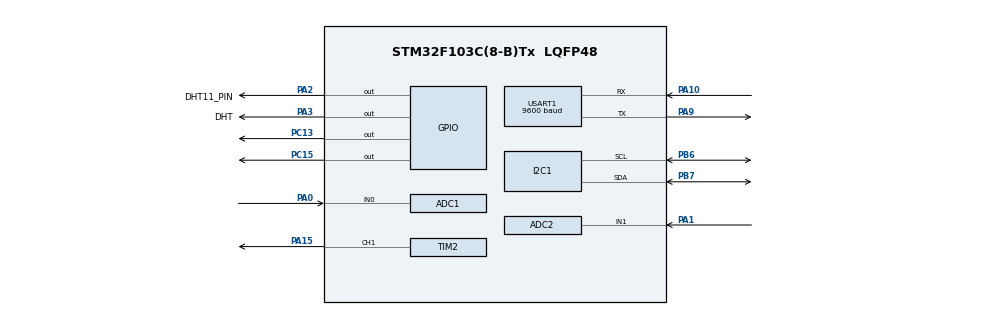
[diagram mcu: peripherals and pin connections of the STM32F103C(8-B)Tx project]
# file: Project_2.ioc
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ADC1.Channel-4\#ChannelRegularConversion=ADC_CHANNEL_0
ADC1.NbrOfConversionFlag=1
ADC1.Rank-4\#ChannelRegularConversion=1
ADC1.SamplingTime-4\#ChannelRegularConversion=ADC_SAMPLETIME_13CYCLES_5
ADC1.master=1
ADC2.Channel-1\#ChannelRegularConversion=ADC_CHANNEL_1
ADC2.NbrOfConversionFlag=1
ADC2.Rank-1\#ChannelRegularConversion=1
ADC2.SamplingTime-1\#ChannelRegularConversion=ADC_SAMPLETIME_13CYCLES_5
I2C1.I2C_Mode=I2C_Fast
Mcu.Family=STM32F1
Mcu.Name=STM32F103C(8-B)Tx
Mcu.Package=LQFP48
NVIC.PriorityGroup=NVIC_PRIORITYGROUP_4
NVIC.USART1_IRQn=true\:0\:0\:false\:false\:true\:true\:true\:true
PA0-WKUP.Signal=ADCx_IN0
PA1.Signal=ADCx_IN1
PA10.Mode=Asynchronous
PA10.Signal=USART1_RX
PA13.Mode=Serial_Wire
PA13.Signal=SYS_JTMS-SWDIO
PA14.Mode=Serial_Wire
PA14.Signal=SYS_JTCK-SWCLK
PA15.Signal=S_TIM2_CH1_ETR
PA2.GPIO_Label=DHT11_PIN
PA2.Signal=GPIO_Output
PA3.GPIO_Label=DHT
PA3.Signal=GPIO_Output
PA9.Mode=Asynchronous
PA9.Signal=USART1_TX
PB6.Mode=I2C
PB6.Signal=I2C1_SCL
PB7.Mode=I2C
PB7.Signal=I2C1_SDA
PC13-TAMPER-RTC.Signal=GPIO_Output
PC15-OSC32_OUT.Signal=GPIO_Output
ProjectManager.HeapSize=0x200
ProjectManager.StackSize=0x400
ProjectManager.TargetToolchain=STM32CubeIDE
RCC.APB1Freq_Value=8000000
RCC.APB2Freq_Value=8000000
SH.ADCx_IN0.0=ADC1_IN0,IN0
SH.ADCx_IN1.0=ADC2_IN1,IN1
SH.S_TIM2_CH1_ETR.0=TIM2_CH1,PWM Generation1 CH1
TIM1.Prescaler=8
TIM2.AutoReloadPreload=TIM_AUTORELOAD_PRELOAD_ENABLE
TIM2.Channel-PWM\ Generation1\ CH1=TIM_CHANNEL_1
TIM2.Period=1000
TIM2.Prescaler=7
TIM3.Prescaler=7
TIM4.Prescaler=7
USART1.BaudRate=9600
USART1.VirtualMode=VM_ASYNC
VP_TIM1_VS_ClockSourceINT.Mode=Internal
VP_TIM2_VS_ClockSourceINT.Mode=Internal
VP_TIM3_VS_ClockSourceINT.Mode=Internal
VP_TIM4_VS_ClockSourceINT.Mode=Internal
board=custom

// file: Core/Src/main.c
/* USER CODE BEGIN Header */
/**
 ******************************************************************************
 * @file           : main.c
 * @brief          : Main program body
 ******************************************************************************
 * @attention
 *
 * Copyright (c) 2024 STMicroelectronics.
 * All rights reserved.
 *
 * This software is licensed under terms that can be found in the LICENSE file
 * in the root directory of this software component.
 * If no LICENSE file comes with this software, it is provided AS-IS.
 *
 ******************************************************************************
 */
/* USER CODE END Header */
#include "main.h"

/* USER CODE BEGIN Includes */
#include "gpio.h"
#include "timer.h"
#include "DHT.h"
#include "string.h"
#include "SharpGP2Y10.h"
#include "math.h"
#include "ssd1306.h"
#define ID_STM32_1 0x01
#define ID_ESP	   0x03
#define READ	   0x00
#define WRITE	   0x01
#define PWM_TRUE   0x01
#define PWM_FLASE  0x00
/* USER CODE END Includes */

ADC_HandleTypeDef hadc1;
ADC_HandleTypeDef hadc2;

I2C_HandleTypeDef hi2c1;

TIM_HandleTypeDef htim1;
TIM_HandleTypeDef htim2;
TIM_HandleTypeDef htim3;
TIM_HandleTypeDef htim4;

UART_HandleTypeDef huart1;

/* USER CODE BEGIN PV */
struct PinSetup DustSensor;
/* USER CODE END PV */

void SystemClock_Config(void);
static void MX_GPIO_Init(void);
static void MX_TIM4_Init(void);
static void MX_TIM1_Init(void);
static void MX_TIM2_Init(void);
static void MX_TIM3_Init(void);
static void MX_ADC1_Init(void);
static void MX_ADC2_Init(void);
static void MX_USART1_UART_Init(void);
static void MX_I2C1_Init(void);
/* USER CODE BEGIN PFP */

//uint16_t adc_read(ADC_HandleTypeDef *Adc_x){
//	  HAL_ADC_Start(&hadc1); // start the adc
//
//	  HAL_ADC_PollForConversion(&hadc1, 100); // poll for conversion
//
//	  adc_val = HAL_ADC_GetValue(&hadc1); // get the adc value
//
//	  HAL_ADC_Stop(&hadc1); // stop adc
//}
/* USER CODE END PFP */

/* USER CODE BEGIN 0 */
#define RL 10.0       // �?iện trở tải (RL) là 10kΩ
#define R0 76.63      // Giá trị R0 đo được trong không khí sạch (cần hiệu chỉnh)
#define TEMPERATURE_WARNING 35
typedef struct {
	int sensorvalue;
	float voltage;
	float rs;
	float ratio;
	float ppm;
	uint8_t speed_fan;
	dht11_t dht;
	float SensorCo;
} Peripheral_t;
Peripheral_t PeripheralData;
uint8_t TriggerPwm = 0;
uint32_t value[3];
dht11_t dht;
float humi, temp;
uint8_t rx_data[1];  // Biến lưu dữ liệu nhận
uint8_t buffer[128];
uint8_t index_buffer = 0;
volatile int flat = 0;
typedef struct {
	uint8_t id;        // ID 8 bit
	uint8_t rw;        // Read (0) hoặc Write (1) 1 bit
//	char data[128];        // Chuỗi dữ liệu (String)
	uint8_t d_humi;
	uint8_t d_temp;
	uint16_t d_ppm;
	uint16_t d_co;
	uint8_t crc;       // CRC 8 bit dùng để kiểm tra lỗi
	uint8_t endframe;
} LoRaFrame;
LoRaFrame LoRaTx;

void HAL_UART_RxCpltCallback(UART_HandleTypeDef *huart) {
	if (huart->Instance == USART1) {
		if(rx_data[0] == '\n'){
			uint8_t test = 0;
			sscanf(buffer,"{\"ID\": %hhu}",&test);
			if(test == ID_STM32_1){
				flat = 1;
			}
			for(int i = 0;i<index_buffer;i++){
				buffer[i] = '\0';
			}
			index_buffer = 0;
		}else{
			buffer[index_buffer++] = rx_data[0];
		}

		HAL_UART_Receive_IT(&huart1, (uint8_t*) rx_data, 1);
	}
}

// Hàm gửi khung dữ liệu (chuỗi) qua UART cho LoRa E32
void LoRa_SendFrame(LoRaFrame *data) {
	char buf[258];
	sprintf(buf,
			"{\"ID\": %u, \"RW\": %u, \"HUMI\": %u, \"TEMP\": %u, \"PPM\": %Lu, \"CO\": %Lu}\n\r",
			data->id, data->rw, data->d_humi, data->d_temp, data->d_ppm,
			data->d_co);
	// Gửi khung dữ liệu qua UART
	HAL_UART_Transmit(&huart1, (uint8_t*) buf, strlen(buf), 100);
}
void UpdateOled(Peripheral_t *pPeripheralData_t) {
	char buf_t[50];
	char buf_h[50];
	char buf_ppm[50];
	char buf_co[50];
	char buf_sp[50];
//	SSD1306_Clear();
	sprintf(buf_t, "Temperature: %u ", pPeripheralData_t->dht.temperature);
	sprintf(buf_h, "Humidity: %u", pPeripheralData_t->dht.humidty);
	sprintf(buf_ppm, "PPM: %Lu", (uint16_t) pPeripheralData_t->ppm);
	sprintf(buf_co, "CO: %Lu", (uint16_t) pPeripheralData_t->SensorCo);
	sprintf(buf_sp, "Speed fan: %u", 0);

	SSD1306_GotoXY(40, 0); // goto 10, 10
	SSD1306_Puts("NODE1", &Font_7x10, 1); // print Hello

	SSD1306_GotoXY(0, 10);
	SSD1306_Puts(buf_t, &Font_7x10, 1);

	SSD1306_GotoXY(0, 20); // goto 10, 10
	SSD1306_Puts(buf_h, &Font_7x10, 1); // print Hello
	SSD1306_GotoXY(0, 30);
	SSD1306_Puts(buf_ppm, &Font_7x10, 1);

	SSD1306_GotoXY(0, 40);
	SSD1306_Puts(buf_co, &Font_7x10, 1);

	SSD1306_GotoXY(0, 50);
	SSD1306_Puts(buf_sp, &Font_7x10, 1);
	SSD1306_UpdateScreen(); // update screen

}
void UpdateSensorData(dht11_t *pdht, Peripheral_t *pPeripheralData) {
	readDHT11(pdht);
	pPeripheralData->dht.temperature = dht.temperature;
	pPeripheralData->dht.humidty = dht.humidty;

	pPeripheralData->SensorCo = analogRead(&hadc2) / 3;

	pPeripheralData->sensorvalue = analogRead(&hadc1);
	pPeripheralData->voltage = pPeripheralData->sensorvalue * (5 / 4095.0);
	pPeripheralData->rs = (5 - pPeripheralData->voltage)
			/ PeripheralData.voltage * RL;
	pPeripheralData->ratio = pPeripheralData->rs / R0;
	pPeripheralData->ppm = 116.6020682
			* pow(pPeripheralData->ratio, -2.769034857);
}
void LoRa_UpdateFrame(LoRaFrame *pLoRaFrame, uint8_t id, uint8_t rw,
		Peripheral_t *pPeripheralData) {

	pLoRaFrame->id = id;
	pLoRaFrame->rw = rw;
	pLoRaFrame->d_temp = pPeripheralData->dht.temperature;
	pLoRaFrame->d_humi = pPeripheralData->dht.humidty;
	pLoRaFrame->d_ppm = (uint16_t) pPeripheralData->ppm;
	pLoRaFrame->d_co = (uint16_t) pPeripheralData->SensorCo;

}
//void Read_DataDht(){
//	DHT_GetData(&Dht11Data);
//	temp = Dht11Data.Temperature;
//	humi = Dht11Data.Humidity;
//}
/* USER CODE END 0 */

int main(void) {

	/* MCU Configuration--------------------------------------------------------*/

	/* Reset of all peripherals, Initializes the Flash interface and the Systick. */
	HAL_Init();

	/* Configure the system clock */
	SystemClock_Config();

	/* Initialize all configured peripherals */
	MX_GPIO_Init();
	MX_TIM4_Init();
	MX_TIM1_Init();
	MX_TIM2_Init();
	MX_TIM3_Init();
	MX_ADC1_Init();
	MX_ADC2_Init();
	MX_USART1_UART_Init();
	MX_I2C1_Init();
	/* USER CODE BEGIN 2 */
	HAL_TIM_Base_Start(&htim4);
	HAL_TIM_PWM_Start(&htim2, TIM_CHANNEL_1);

	timer_init(&htim3);
	init_dht11(&dht, &htim4, GPIOA, DHT_Pin);

	SSD1306_Init();
	SSD1306_Fill(SSD1306_COLOR_BLACK);

	HAL_UART_Receive_IT(&huart1, (uint8_t*) rx_data, 1);

	uint16_t tick = HAL_GetTick();
	uint16_t current_tick = 0;
	while (1) {
		current_tick = HAL_GetTick();
		if (current_tick - tick >= 10) {
			UpdateSensorData(&dht, &PeripheralData);
			UpdateOled(&PeripheralData);
			tick = current_tick;
		}

		if (flat == 1) {
			LoRa_UpdateFrame(&LoRaTx, ID_STM32_1, WRITE, &PeripheralData);
			LoRa_SendFrame(&LoRaTx);
			flat = 0;
		}
		if (PeripheralData.dht.temperature >= TEMPERATURE_WARNING
				&& TriggerPwm == PWM_FLASE) {
			__HAL_TIM_SET_COMPARE(&htim2, TIM_CHANNEL_1, 900);
			TriggerPwm = PWM_TRUE;
		} else if (PeripheralData.dht.temperature < TEMPERATURE_WARNING
				&& TriggerPwm == PWM_TRUE) {
			__HAL_TIM_SET_COMPARE(&htim2, TIM_CHANNEL_1, 200);
		} else
			;
		/* USER CODE END WHIL  */

	}
}

void SystemClock_Config(void) {
	RCC_OscInitTypeDef RCC_OscInitStruct = { 0 };
	RCC_ClkInitTypeDef RCC_ClkInitStruct = { 0 };
	RCC_PeriphCLKInitTypeDef PeriphClkInit = { 0 };

	/** Initializes the RCC Oscillators according to the specified parameters
	 * in the RCC_OscInitTypeDef structure.
	 */
	RCC_OscInitStruct.OscillatorType = RCC_OSCILLATORTYPE_HSI;
	RCC_OscInitStruct.HSIState = RCC_HSI_ON;
	RCC_OscInitStruct.HSICalibrationValue = RCC_HSICALIBRATION_DEFAULT;
	RCC_OscInitStruct.PLL.PLLState = RCC_PLL_NONE;
	if (HAL_RCC_OscConfig(&RCC_OscInitStruct) != HAL_OK) {
		Error_Handler();
	}

	/** Initializes the CPU, AHB and APB buses clocks
	 */
	RCC_ClkInitStruct.ClockType = RCC_CLOCKTYPE_HCLK | RCC_CLOCKTYPE_SYSCLK
			| RCC_CLOCKTYPE_PCLK1 | RCC_CLOCKTYPE_PCLK2;
	RCC_ClkInitStruct.SYSCLKSource = RCC_SYSCLKSOURCE_HSI;
	RCC_ClkInitStruct.AHBCLKDivider = RCC_SYSCLK_DIV1;
	RCC_ClkInitStruct.APB1CLKDivider = RCC_HCLK_DIV1;
	RCC_ClkInitStruct.APB2CLKDivider = RCC_HCLK_DIV1;

	if (HAL_RCC_ClockConfig(&RCC_ClkInitStruct, FLASH_LATENCY_0) != HAL_OK) {
		Error_Handler();
	}
	PeriphClkInit.PeriphClockSelection = RCC_PERIPHCLK_ADC;
	PeriphClkInit.AdcClockSelection = RCC_ADCPCLK2_DIV2;
	if (HAL_RCCEx_PeriphCLKConfig(&PeriphClkInit) != HAL_OK) {
		Error_Handler();
	}
}

static void MX_ADC1_Init(void) {

	ADC_ChannelConfTypeDef sConfig = { 0 };

	/** Common config
	 */
	hadc1.Instance = ADC1;
	hadc1.Init.ScanConvMode = ADC_SCAN_DISABLE;
	hadc1.Init.ContinuousConvMode = DISABLE;
	hadc1.Init.DiscontinuousConvMode = DISABLE;
	hadc1.Init.ExternalTrigConv = ADC_SOFTWARE_START;
	hadc1.Init.DataAlign = ADC_DATAALIGN_RIGHT;
	hadc1.Init.NbrOfConversion = 1;
	if (HAL_ADC_Init(&hadc1) != HAL_OK) {
		Error_Handler();
	}

	/** Configure Regular Channel
	 */
	sConfig.Channel = ADC_CHANNEL_0;
	sConfig.Rank = ADC_REGULAR_RANK_1;
	sConfig.SamplingTime = ADC_SAMPLETIME_13CYCLES_5;
	if (HAL_ADC_ConfigChannel(&hadc1, &sConfig) != HAL_OK) {
		Error_Handler();
	}

}

static void MX_ADC2_Init(void) {

	ADC_ChannelConfTypeDef sConfig = { 0 };

	/** Common config
	 */
	hadc2.Instance = ADC2;
	hadc2.Init.ScanConvMode = ADC_SCAN_DISABLE;
	hadc2.Init.ContinuousConvMode = DISABLE;
	hadc2.Init.DiscontinuousConvMode = DISABLE;
	hadc2.Init.ExternalTrigConv = ADC_SOFTWARE_START;
	hadc2.Init.DataAlign = ADC_DATAALIGN_RIGHT;
	hadc2.Init.NbrOfConversion = 1;
	if (HAL_ADC_Init(&hadc2) != HAL_OK) {
		Error_Handler();
	}

	/** Configure Regular Channel
	 */
	sConfig.Channel = ADC_CHANNEL_1;
	sConfig.Rank = ADC_REGULAR_RANK_1;
	sConfig.SamplingTime = ADC_SAMPLETIME_13CYCLES_5;
	if (HAL_ADC_ConfigChannel(&hadc2, &sConfig) != HAL_OK) {
		Error_Handler();
	}

}

static void MX_I2C1_Init(void) {

	hi2c1.Instance = I2C1;
	hi2c1.Init.ClockSpeed = 400000;
	hi2c1.Init.DutyCycle = I2C_DUTYCYCLE_2;
	hi2c1.Init.OwnAddress1 = 0;
	hi2c1.Init.AddressingMode = I2C_ADDRESSINGMODE_7BIT;
	hi2c1.Init.DualAddressMode = I2C_DUALADDRESS_DISABLE;
	hi2c1.Init.OwnAddress2 = 0;
	hi2c1.Init.GeneralCallMode = I2C_GENERALCALL_DISABLE;
	hi2c1.Init.NoStretchMode = I2C_NOSTRETCH_DISABLE;
	if (HAL_I2C_Init(&hi2c1) != HAL_OK) {
		Error_Handler();
	}

}

static void MX_TIM1_Init(void) {

	TIM_ClockConfigTypeDef sClockSourceConfig = { 0 };
	TIM_MasterConfigTypeDef sMasterConfig = { 0 };

	htim1.Instance = TIM1;
	htim1.Init.Prescaler = 8;
	htim1.Init.CounterMode = TIM_COUNTERMODE_UP;
	htim1.Init.Period = 65535;
	htim1.Init.ClockDivision = TIM_CLOCKDIVISION_DIV1;
	htim1.Init.RepetitionCounter = 0;
	htim1.Init.AutoReloadPreload = TIM_AUTORELOAD_PRELOAD_DISABLE;
	if (HAL_TIM_Base_Init(&htim1) != HAL_OK) {
		Error_Handler();
	}
	sClockSourceConfig.ClockSource = TIM_CLOCKSOURCE_INTERNAL;
	if (HAL_TIM_ConfigClockSource(&htim1, &sClockSourceConfig) != HAL_OK) {
		Error_Handler();
	}
	sMasterConfig.MasterOutputTrigger = TIM_TRGO_RESET;
	sMasterConfig.MasterSlaveMode = TIM_MASTERSLAVEMODE_DISABLE;
	if (HAL_TIMEx_MasterConfigSynchronization(&htim1, &sMasterConfig)
			!= HAL_OK) {
		Error_Handler();
	}

}

static void MX_TIM2_Init(void) {

	TIM_ClockConfigTypeDef sClockSourceConfig = { 0 };
	TIM_MasterConfigTypeDef sMasterConfig = { 0 };
	TIM_OC_InitTypeDef sConfigOC = { 0 };

	htim2.Instance = TIM2;
	htim2.Init.Prescaler = 7;
	htim2.Init.CounterMode = TIM_COUNTERMODE_UP;
	htim2.Init.Period = 1000;
	htim2.Init.ClockDivision = TIM_CLOCKDIVISION_DIV1;
	htim2.Init.AutoReloadPreload = TIM_AUTORELOAD_PRELOAD_ENABLE;
	if (HAL_TIM_Base_Init(&htim2) != HAL_OK) {
		Error_Handler();
	}
	sClockSourceConfig.ClockSource = TIM_CLOCKSOURCE_INTERNAL;
	if (HAL_TIM_ConfigClockSource(&htim2, &sClockSourceConfig) != HAL_OK) {
		Error_Handler();
	}
	if (HAL_TIM_PWM_Init(&htim2) != HAL_OK) {
		Error_Handler();
	}
	sMasterConfig.MasterOutputTrigger = TIM_TRGO_RESET;
	sMasterConfig.MasterSlaveMode = TIM_MASTERSLAVEMODE_DISABLE;
	if (HAL_TIMEx_MasterConfigSynchronization(&htim2, &sMasterConfig)
			!= HAL_OK) {
		Error_Handler();
	}
	sConfigOC.OCMode = TIM_OCMODE_PWM1;
	sConfigOC.Pulse = 0;
	sConfigOC.OCPolarity = TIM_OCPOLARITY_HIGH;
	sConfigOC.OCFastMode = TIM_OCFAST_DISABLE;
	if (HAL_TIM_PWM_ConfigChannel(&htim2, &sConfigOC, TIM_CHANNEL_1)
			!= HAL_OK) {
		Error_Handler();
	}
	HAL_TIM_MspPostInit(&htim2);

}

static void MX_TIM3_Init(void) {

	TIM_ClockConfigTypeDef sClockSourceConfig = { 0 };
	TIM_MasterConfigTypeDef sMasterConfig = { 0 };

	htim3.Instance = TIM3;
	htim3.Init.Prescaler = 7;
	htim3.Init.CounterMode = TIM_COUNTERMODE_UP;
	htim3.Init.Period = 65535;
	htim3.Init.ClockDivision = TIM_CLOCKDIVISION_DIV1;
	htim3.Init.AutoReloadPreload = TIM_AUTORELOAD_PRELOAD_DISABLE;
	if (HAL_TIM_Base_Init(&htim3) != HAL_OK) {
		Error_Handler();
	}
	sClockSourceConfig.ClockSource = TIM_CLOCKSOURCE_INTERNAL;
	if (HAL_TIM_ConfigClockSource(&htim3, &sClockSourceConfig) != HAL_OK) {
		Error_Handler();
	}
	sMasterConfig.MasterOutputTrigger = TIM_TRGO_RESET;
	sMasterConfig.MasterSlaveMode = TIM_MASTERSLAVEMODE_DISABLE;
	if (HAL_TIMEx_MasterConfigSynchronization(&htim3, &sMasterConfig)
			!= HAL_OK) {
		Error_Handler();
	}

}

static void MX_TIM4_Init(void) {

	TIM_ClockConfigTypeDef sClockSourceConfig = { 0 };
	TIM_MasterConfigTypeDef sMasterConfig = { 0 };

	htim4.Instance = TIM4;
	htim4.Init.Prescaler = 7;
	htim4.Init.CounterMode = TIM_COUNTERMODE_UP;
	htim4.Init.Period = 65535;
	htim4.Init.ClockDivision = TIM_CLOCKDIVISION_DIV1;
	htim4.Init.AutoReloadPreload = TIM_AUTORELOAD_PRELOAD_DISABLE;
	if (HAL_TIM_Base_Init(&htim4) != HAL_OK) {
		Error_Handler();
	}
	sClockSourceConfig.ClockSource = TIM_CLOCKSOURCE_INTERNAL;
	if (HAL_TIM_ConfigClockSource(&htim4, &sClockSourceConfig) != HAL_OK) {
		Error_Handler();
	}
	sMasterConfig.MasterOutputTrigger = TIM_TRGO_RESET;
	sMasterConfig.MasterSlaveMode = TIM_MASTERSLAVEMODE_DISABLE;
	if (HAL_TIMEx_MasterConfigSynchronization(&htim4, &sMasterConfig)
			!= HAL_OK) {
		Error_Handler();
	}

}

static void MX_USART1_UART_Init(void) {

	huart1.Instance = USART1;
	huart1.Init.BaudRate = 9600;
	huart1.Init.WordLength = UART_WORDLENGTH_8B;
	huart1.Init.StopBits = UART_STOPBITS_1;
	huart1.Init.Parity = UART_PARITY_NONE;
	huart1.Init.Mode = UART_MODE_TX_RX;
	huart1.Init.HwFlowCtl = UART_HWCONTROL_NONE;
	huart1.Init.OverSampling = UART_OVERSAMPLING_16;
	if (HAL_UART_Init(&huart1) != HAL_OK) {
		Error_Handler();
	}

}

static void MX_GPIO_Init(void) {
	GPIO_InitTypeDef GPIO_InitStruct = { 0 };

	/* GPIO Ports Clock Enable */
	__HAL_RCC_GPIOC_CLK_ENABLE();
	__HAL_RCC_GPIOA_CLK_ENABLE();
	__HAL_RCC_GPIOB_CLK_ENABLE();

	/*Configure GPIO pin Output Level */
	HAL_GPIO_WritePin(GPIOC, GPIO_PIN_13 | GPIO_PIN_15, GPIO_PIN_RESET);

	/*Configure GPIO pin Output Level */
	HAL_GPIO_WritePin(GPIOA, DHT11_PIN_Pin | DHT_Pin, GPIO_PIN_RESET);

	/*Configure GPIO pins : PC13 PC15 */
	GPIO_InitStruct.Pin = GPIO_PIN_13 | GPIO_PIN_15;
	GPIO_InitStruct.Mode = GPIO_MODE_OUTPUT_PP;
	GPIO_InitStruct.Pull = GPIO_NOPULL;
	GPIO_InitStruct.Speed = GPIO_SPEED_FREQ_LOW;
	HAL_GPIO_Init(GPIOC, &GPIO_InitStruct);

	/*Configure GPIO pins : DHT11_PIN_Pin DHT_Pin */
	GPIO_InitStruct.Pin = DHT11_PIN_Pin | DHT_Pin;
	GPIO_InitStruct.Mode = GPIO_MODE_OUTPUT_PP;
	GPIO_InitStruct.Pull = GPIO_NOPULL;
	GPIO_InitStruct.Speed = GPIO_SPEED_FREQ_LOW;
	HAL_GPIO_Init(GPIOA, &GPIO_InitStruct);

}

void Error_Handler(void) {
	__disable_irq();
	while (1) {
	}
}
